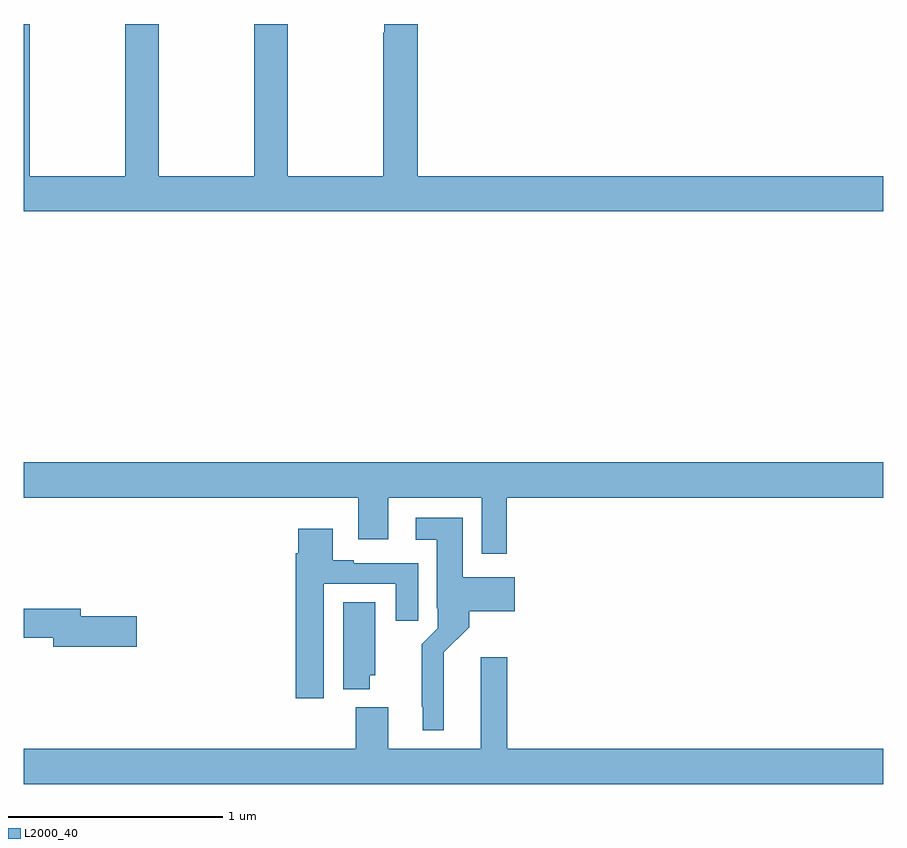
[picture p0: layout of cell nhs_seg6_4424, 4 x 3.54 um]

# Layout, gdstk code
import gdstk
lib = gdstk.Library(unit=1e-6, precision=1e-09)
def P(c, l, *ps):  # polygons
    for p in ps: c.add(gdstk.Polygon(p, *l))
L2000_40 = (2000, 40)

nhs_seg6_4424 = lib.new_cell('nhs_seg6_4424')
P(nhs_seg6_4424, L2000_40, [(375,988.792),(372.833,988.792),(372.833,989.5),(372.677,989.5),(372.677,989.459),(372.673,989.459),(372.673,988.792),(372.228,988.792),(372.228,989.5),(372.073,989.5),(372.073,988.792),(371.628,988.792),(371.628,989.5),(371.473,989.5),(371.473,988.792),(371.028,988.792),(371.028,989.5),(371,989.5),(371,988.628),(375,988.628)],
  [(373.247,987.296),(375,987.296),(375,987.46),(371,987.46),(371,987.296),(372.557,987.296),(372.557,987.102),(372.697,987.102),(372.697,987.296),(373.131,987.296),(373.131,987.036),(373.247,987.036)],
  [(372.955,986.576),(373.073,986.694),(373.073,986.768),(373.285,986.768),(373.285,986.926),(373.042,986.926),(373.042,987.202),(372.825,987.202),(372.825,987.101),(372.923,987.101),(372.923,986.782),(372.927,986.782),(372.927,986.688),(372.853,986.614),(372.853,986.323),(372.857,986.323),(372.857,986.213),(372.955,986.213)],
  [(372.397,986.895),(372.731,986.895),(372.731,986.724),(372.835,986.724),(372.835,986.991),(372.535,986.991),(372.535,987.004),(372.439,987.004),(372.439,987.151),(372.278,987.151),(372.278,987.038),(372.266,987.038),(372.266,986.364),(372.397,986.364)],
  [(372.61,986.469),(372.637,986.469),(372.637,986.81),(372.488,986.81),(372.488,986.405),(372.61,986.405)],
  [(371.527,986.744),(371.266,986.744),(371.266,986.78),(371,986.78),(371,986.644),(371.138,986.644),(371.138,986.602),(371.527,986.602)],
  [(375,986.128),(373.25,986.128),(373.25,986.554),(373.127,986.554),(373.127,986.128),(372.697,986.128),(372.697,986.32),(372.545,986.32),(372.545,986.128),(371,986.128),(371,985.964),(375,985.964)])

lib.write_gds('nhs_seg6_4424.gds')
